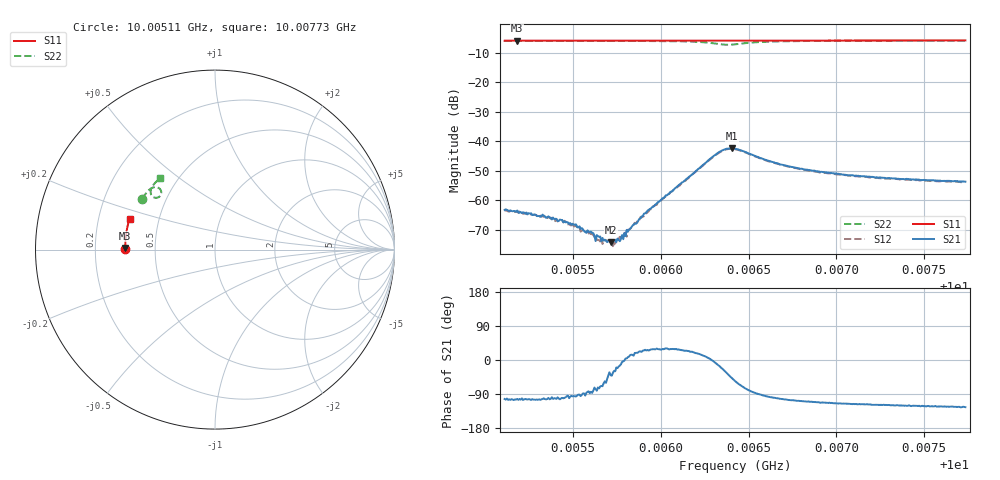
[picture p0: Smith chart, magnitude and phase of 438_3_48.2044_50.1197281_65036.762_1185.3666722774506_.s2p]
#  HZ  S  RI  R  50.00
! Rohde & Schwarz Vector Network Analyzer
! Rohde-Schwarz,ZNB20-2Port,1311601062101988,3.16
! Created: UTC 3/20/2024, 11:55:44 AM
! freq[Hz]  re:S11  im:S11  re:S21  im:S21  re:S12  im:S12  re:S22  im:S22
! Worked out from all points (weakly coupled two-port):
!   401 points, 10.00511 GHz to 10.00773 GHz, reference 50 ohm
!   highest |S21| = -42.38 dB at 10.0064 GHz (marker M1); lowest = -74.2 dB at 10.00571 GHz (marker M2)
!   lowest |S11| = -6.0 dB at 10.00518 GHz (marker M3), VSWR 3.00, Z = 16.7 + j0.408 ohm
!   |S11| at or under -10 dB: nowhere
!   |S22| runs from -7.4 to -6.0 dB; largest |S21 - S12| = 0.00046
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1.0005111e10  -0.5003 0.00456  -0.000154 -0.000673  -0.000144 -0.000662  -0.4055 0.2839
1.0005183e10  -0.5001 0.00918  -0.000151 -0.000659  -0.000112 -0.000641  -0.4027 0.2882
1.0005446e10  -0.5002 0.0262  -8.26e-05 -0.00042  -6.38e-05 -0.000418  -0.3921 0.3037
1.0005479e10  -0.5001 0.0284  -7.37e-05 -0.000394  -2.94e-05 -0.000406  -0.3905 0.3057
1.0005511e10  -0.5001 0.0306  -3.8e-05 -0.000388  -7.41e-06 -0.000363  -0.3892 0.3076
1.0005551e10  -0.5 0.0331  -1.24e-05 -0.000339  -2.04e-05 -0.000307  -0.3873 0.3101
1.0005616e10  -0.4999 0.0374  4.47e-05 -0.000275  4.85e-05 -0.000257  -0.3842 0.3139
1.0005656e10  -0.4997 0.04  8.37e-05 -0.00023  8.99e-05 -0.000181  -0.3823 0.3164
1.0005695e10  -0.4995 0.0424  0.000127 -0.000151  0.000139 -0.000159  -0.3803 0.319
1.0005715e10  -0.4995 0.0437  0.000149 -0.000125  0.000161 -0.000117  -0.3791 0.3201
1.0005734e10  -0.4994 0.045  0.000181 -9.89e-05  0.000165 -8.96e-05  -0.378 0.3213
1.0005774e10  -0.4991 0.0475  0.000218 -4.29e-05  0.000232 -1.26e-05  -0.3759 0.3238
1.0005918e10  -0.4986 0.0569  0.000572 0.000268  0.000528 0.000296  -0.3664 0.3332
1.000599e10  -0.4981 0.0616  0.000836 0.000453  0.00078 0.000482  -0.3602 0.338
1.0006305e10  -0.4954 0.0819  0.00572 -0.00051  0.0056 -0.000196  -0.3034 0.3333
1.0006357e10  -0.4948 0.0849  0.00645 -0.00311  0.00643 -0.00274  -0.3002 0.3093
1.0006403e10  -0.4943 0.0876  0.00519 -0.00556  0.00533 -0.00518  -0.3154 0.2915
1.0006423e10  -0.4943 0.0888  0.00424 -0.00616  0.00451 -0.00578  -0.3245 0.2888
1.0006685e10  -0.4921 0.1057  -0.000895 -0.00394  -0.000719 -0.00392  -0.3573 0.3333
1.0006862e10  -0.49 0.1168  -0.00112 -0.00298  -0.000954 -0.003  -0.3493 0.3512
1.0007302e10  -0.4834 0.1446  -0.00115 -0.00209  -0.00103 -0.00208  -0.3268 0.3791
1.0007734e10  -0.4756 0.1713  -0.00117 -0.00171  -0.00107 -0.00175  -0.3048 0.3999
